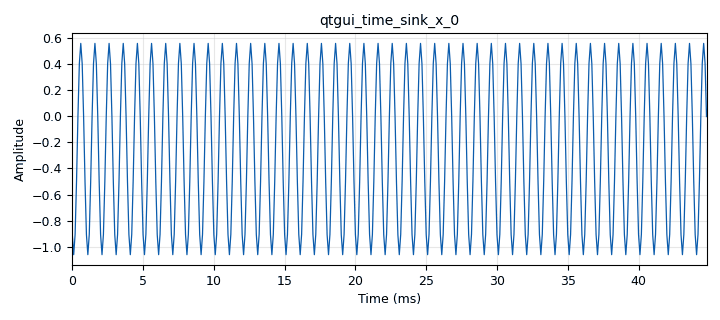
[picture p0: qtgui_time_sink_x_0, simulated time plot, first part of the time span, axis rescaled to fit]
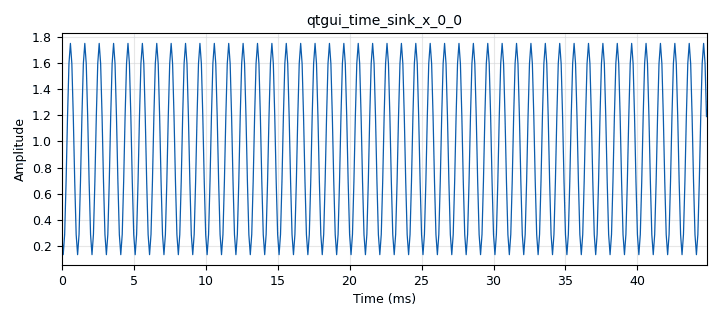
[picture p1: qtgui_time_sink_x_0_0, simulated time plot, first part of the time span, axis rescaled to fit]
options:
  parameters:
    generate_options: qt_gui
    id: PRUEBA_I
    output_language: python
    title: Not titled yet
  states: {}

blocks:
- name: samp_rate
  id: variable
  parameters:
    value: '10000'
  states: {}
- name: analog_sig_source_x_0
  id: analog_sig_source_x
  parameters:
    amp: '0.5'
    freq: '1000'
    offset: '0'
    phase: '0'
    samp_rate: samp_rate
    type: float
    waveform: analog.GR_COS_WAVE
  states: {}
- name: epy_block_0
  id: epy_block
  parameters:
    _source_code: |
      """
      Embedded Python Blocks:

      Each time this file is saved, GRC will instantiate the first class it finds
      to get ports and parameters of your block. The arguments to __init__  will
      be the parameters. All of them are required to have default values!
      """

      import numpy as np
      from gnuradio import gr

      class blk (gr. sync_block ):
      	def __init__ ( self ) : # only default arguments here
      		gr. sync_block . __init__ (
      			self ,
      			name ="e_Acum ", # will show up in GRC
      			in_sig =[ np. float32 ],
      			out_sig =[ np. float32 ]
      		)
      	def work (self , input_items , output_items ):
      		x = input_items [0] # Senial de entrada .
      		y0 = output_items [0] # Senial acumulada
      		y0 [:] = np. cumsum (x)
      		return len(y0)
  states: {}
- name: epy_block_1
  id: epy_block
  parameters:
    _source_code: |
      """
      Embedded Python Blocks:

      Each time this file is saved, GRC will instantiate the first class it finds
      to get ports and parameters of your block. The arguments to __init__  will
      be the parameters. All of them are required to have default values!
      """

      import numpy as np
      from gnuradio import gr
      class blk (gr. sync_block ):
      	def __init__ ( self ) : # only default arguments here
      		gr. sync_block . __init__ (
      			self ,
      			name ="e_Diff" , # will show up in GRC
      			in_sig =[ np. float32 ],
      			out_sig =[ np. float32 ]
      		)
      		self . acum_anterior = 0
      			
      	def work (self , input_items , output_items ):
      		x = input_items [0] # Senial de entrada .
      		y0 = output_items [0] # Senial acumulada diferencial
      		N = len (x)
      		diff = np. cumsum (x) - self . acum_anterior
      		self . acum_anterior = diff [N -1]
      		y0 [:] = diff
      		return len (y0)
  states: {}
- name: qtgui_number_sink_0
  id: qtgui_number_sink
  parameters:
    graph_type: qtgui.NUM_GRAPH_HORIZ
    type: float
  states: {}
- name: qtgui_number_sink_0_0
  id: qtgui_number_sink
  parameters:
    graph_type: qtgui.NUM_GRAPH_HORIZ
    type: float
  states: {}
- name: qtgui_time_sink_x_0
  id: qtgui_time_sink_x
  parameters:
    size: '1024'
    srate: samp_rate
    type: float
  states: {}
- name: qtgui_time_sink_x_0_0
  id: qtgui_time_sink_x
  parameters:
    size: '1024'
    srate: samp_rate
    type: float
  states: {}

connections:
- [analog_sig_source_x_0, '0', epy_block_0, '0']
- [analog_sig_source_x_0, '0', epy_block_1, '0']
- [epy_block_0, '0', qtgui_number_sink_0_0, '0']
- [epy_block_0, '0', qtgui_time_sink_x_0, '0']
- [epy_block_1, '0', qtgui_number_sink_0, '0']
- [epy_block_1, '0', qtgui_time_sink_x_0_0, '0']

metadata:
  file_format: 1
  grc_version: 3.9.8.0
